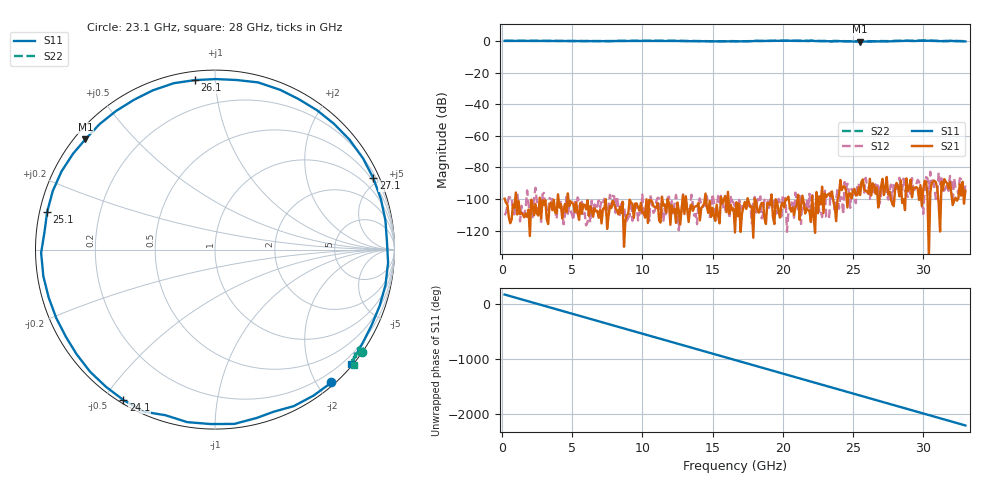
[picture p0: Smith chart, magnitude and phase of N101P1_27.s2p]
# GHZ S RI R 50
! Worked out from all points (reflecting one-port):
!   329 points, 200 MHz to 33 GHz, reference 50 ohm
!   lowest |S11| = -0.5 dB at 25.5 GHz (marker M1), VSWR 37.61, Z = 1.51 + j18.4 ohm
!   phase of S11 starts at 165 deg and turns -2370 deg over the sweep
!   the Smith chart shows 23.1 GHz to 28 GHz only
!   S11 on the Smith chart (normalised r, x): 23.1 GHz: 0.05, -2.21; 24.1 GHz: 0.01, -0.56; 25.1 GHz: 0.02, +0.11; 26.1 GHz: 0.04, +0.89; 27.1 GHz: 0.37, +4.63; 28 GHz: 0.05, -2.73
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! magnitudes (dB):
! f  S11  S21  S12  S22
! 200 MHz  0.0  -99.7  -110.1  0.0
! 5.7 GHz  -0.2  -109.2  -101.6  -0.1
! 11.2 GHz  -0.1  -113.5  -99.6  0.1
! 16.6 GHz  -0.3  -121.1  -105.1  -0.2
! 20.4 GHz  0.1  -98.5  -108.6  0.1
! 22.1 GHz  0.0  -98.0  -97.4  0.1
! 23.1 GHz  -0.1  -98.6  -111.5  0.0
! 23.4 GHz  -0.3  -98.3  -95.6  -0.3
! 23.6 GHz  -0.2  -101.1  -99.1  0.0
! 23.9 GHz  -0.3  -100.2  -93.0  -0.1
! 24 GHz  -0.1  -97.5  -106.1  0.1
! 24.1 GHz  -0.2  -87.9  -98.5  0.0
! 25.1 GHz  -0.4  -93.5  -96.3  -0.2
! 25.5 GHz  -0.5  -97.4  -97.9  -0.3
! 26.1 GHz  -0.4  -96.7  -92.0  -0.2
! 27.1 GHz  -0.3  -87.2  -90.3  -0.1
! 27.6 GHz  -0.3  -95.2  -94.9  -0.1
! 28 GHz  -0.1  -93.5  -90.9  0.1
! 30.4 GHz  0.1  -136.6  -97.0  0.3
! 31.4 GHz  -0.2  -94.3  -94.7  -0.1
! 32 GHz  0.0  -96.3  -88.1  0.1
! 33 GHz  -0.3  -94.6  -91.4  -0.1
